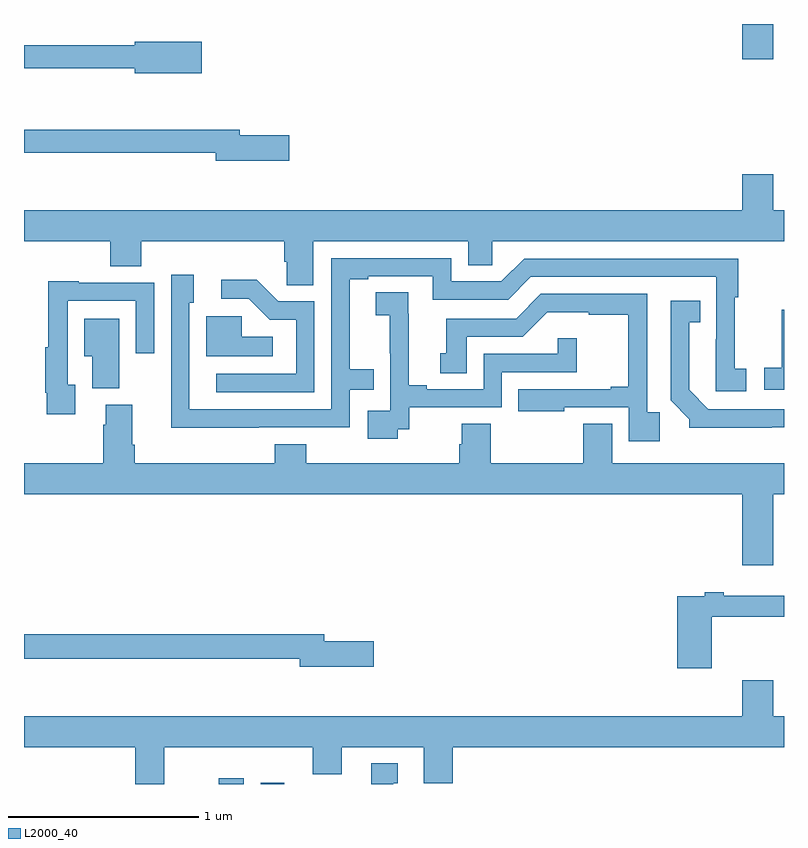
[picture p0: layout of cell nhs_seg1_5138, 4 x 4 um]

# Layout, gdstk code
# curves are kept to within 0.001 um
import gdstk
lib = gdstk.Library(unit=1e-6, precision=1e-09)
def R(c, l, rs):  # rectangles x0, y0, x1, y1
    for r in rs: c.add(gdstk.rectangle(r[:2], r[2:], *l))
def P(c, l, *ps):  # polygons
    for p in ps: c.add(gdstk.Polygon(p, *l))
L2000_40 = (2000, 40)

nhs_seg1_5138 = lib.new_cell('nhs_seg1_5138')
R(nhs_seg1_5138, L2000_40, [(390.026,558.199,390.157,558.229), (390.245,558.199,390.37,558.205), (392.78,562.014,392.944,562.199)])
P(nhs_seg1_5138, L2000_40, [(389.935,562.105),(389.582,562.105),(389.582,562.087),(389,562.087),(389,561.966),(389.582,561.966),(389.582,561.94),(389.935,561.94)],
  [(390.397,561.614),(390.136,561.614),(390.136,561.643),(389,561.643),(389,561.522),(390.008,561.522),(390.008,561.479),(390.397,561.479)],
  [(390.523,561.056),(391.337,561.056),(391.337,560.929),(391.464,560.929),(391.464,561.056),(393,561.056),(393,561.22),(392.944,561.22),(392.944,561.409),(392.78,561.409),(392.78,561.22),(389,561.22),(389,561.056),(389.453,561.056),(389.453,560.923),(389.618,560.923),(389.618,561.056),(390.371,561.056),(390.371,560.947),(390.384,560.947),(390.384,560.824),(390.523,560.824)],
  [(390.236,560.076),(390.714,560.076),(390.714,560.274),(390.842,560.274),(390.842,560.383),(390.715,560.383),(390.715,560.856),(390.811,560.856),(390.811,560.871),(391.152,560.871),(391.152,560.748),(391.548,560.748),(391.668,560.868),(392.643,560.868),(392.642,560.265),(392.8,560.265),(392.8,560.385),(392.742,560.385),(392.742,560.761),(392.759,560.761),(392.759,560.964),(391.632,560.964),(391.512,560.844),(391.248,560.844),(391.248,560.967),(390.618,560.967),(390.618,560.172),(389.871,560.172),(389.871,560.733),(389.893,560.733),(389.893,560.878),(389.775,560.878),(389.774,560.075)],
  [(390.528,560.739),(390.339,560.739),(390.226,560.852),(390.039,560.852),(390.039,560.754),(390.183,560.754),(390.294,560.643),(390.432,560.643),(390.432,560.358),(390.012,560.358),(390.012,560.262),(390.528,560.262)],
  [(389.269,560.301),(389.229,560.301),(389.229,560.742),(389.589,560.742),(389.589,560.466),(389.685,560.466),(389.685,560.838),(389.289,560.838),(389.289,560.845),(389.128,560.845),(389.128,560.499),(389.113,560.499),(389.113,560.257),(389.121,560.257),(389.121,560.145),(389.269,560.145)],
  [(390.966,560.067),(391.028,560.067),(391.028,560.181),(391.515,560.181),(391.515,560.367),(391.91,560.367),(391.91,560.545),(391.809,560.545),(391.809,560.463),(391.419,560.463),(391.419,560.277),(391.12,560.277),(391.12,560.297),(391.024,560.297),(391.024,560.675),(391.022,560.675),(391.022,560.786),(390.852,560.786),(390.852,560.665),(390.926,560.665),(390.926,560.467),(390.927,560.467),(390.927,560.163),(390.81,560.163),(390.81,560.016),(390.966,560.016)],
  [(392.345,560.155),(392.28,560.155),(392.28,560.778),(391.719,560.778),(391.59,560.649),(391.223,560.649),(391.223,560.466),(391.19,560.466),(391.19,560.362),(391.33,560.362),(391.33,560.553),(391.626,560.553),(391.754,560.681),(391.973,560.681),(391.973,560.67),(392.179,560.67),(392.179,560.29),(392.087,560.29),(392.087,560.277),(391.6,560.277),(391.6,560.162),(391.843,560.162),(391.843,560.181),(392.184,560.181),(392.184,560.004),(392.345,560.004)],
  [(392.936,560.076),(393,560.076),(393,560.172),(392.601,560.172),(392.5,560.273),(392.5,560.63),(392.558,560.63),(392.558,560.743),(392.403,560.743),(392.403,560.218),(392.502,560.119),(392.502,560.075)],
  [(393,560.695),(392.989,560.695),(392.989,560.39),(392.895,560.39),(392.895,560.274),(393,560.274)],
  [(390.31,560.554),(390.147,560.554),(390.147,560.661),(389.96,560.661),(389.96,560.45),(390.31,560.45)],
  [(389.5,560.647),(389.318,560.647),(389.318,560.45),(389.36,560.45),(389.36,560.281),(389.5,560.281)],
  [(392.944,559.724),(393,559.724),(393,559.888),(392.095,559.888),(392.095,560.096),(391.943,560.096),(391.943,559.888),(391.457,559.888),(391.457,560.096),(391.304,560.096),(391.304,559.986),(391.292,559.986),(391.292,559.888),(390.485,559.888),(390.485,559.987),(390.32,559.987),(390.32,559.888),(389.582,559.888),(389.582,559.984),(389.569,559.984),(389.569,560.196),(389.429,560.196),(389.429,560.09),(389.417,560.09),(389.417,559.888),(389,559.888),(389,559.724),(392.78,559.724),(392.78,559.35),(392.944,559.35)],
  [(392.621,559.08),(393,559.08),(393,559.189),(392.684,559.189),(392.684,559.208),(392.584,559.208),(392.584,559.188),(392.438,559.188),(392.438,558.807),(392.621,558.807)],
  [(390.841,558.95),(390.58,558.95),(390.58,558.986),(389,558.986),(389,558.858),(390.452,558.858),(390.452,558.815),(390.841,558.815)],
  [(389.737,558.392),(390.521,558.392),(390.521,558.251),(390.673,558.251),(390.673,558.392),(391.103,558.392),(391.103,558.203),(391.256,558.203),(391.256,558.392),(393,558.392),(393,558.556),(392.944,558.556),(392.944,558.745),(392.78,558.745),(392.78,558.556),(389,558.556),(389,558.392),(389.585,558.392),(389.585,558.199),(389.737,558.199)],
  [(390.943,558.204),(390.967,558.204),(390.967,558.307),(390.827,558.307),(390.827,558.199),(390.943,558.199)])

lib.write_gds('nhs_seg1_5138.gds')
